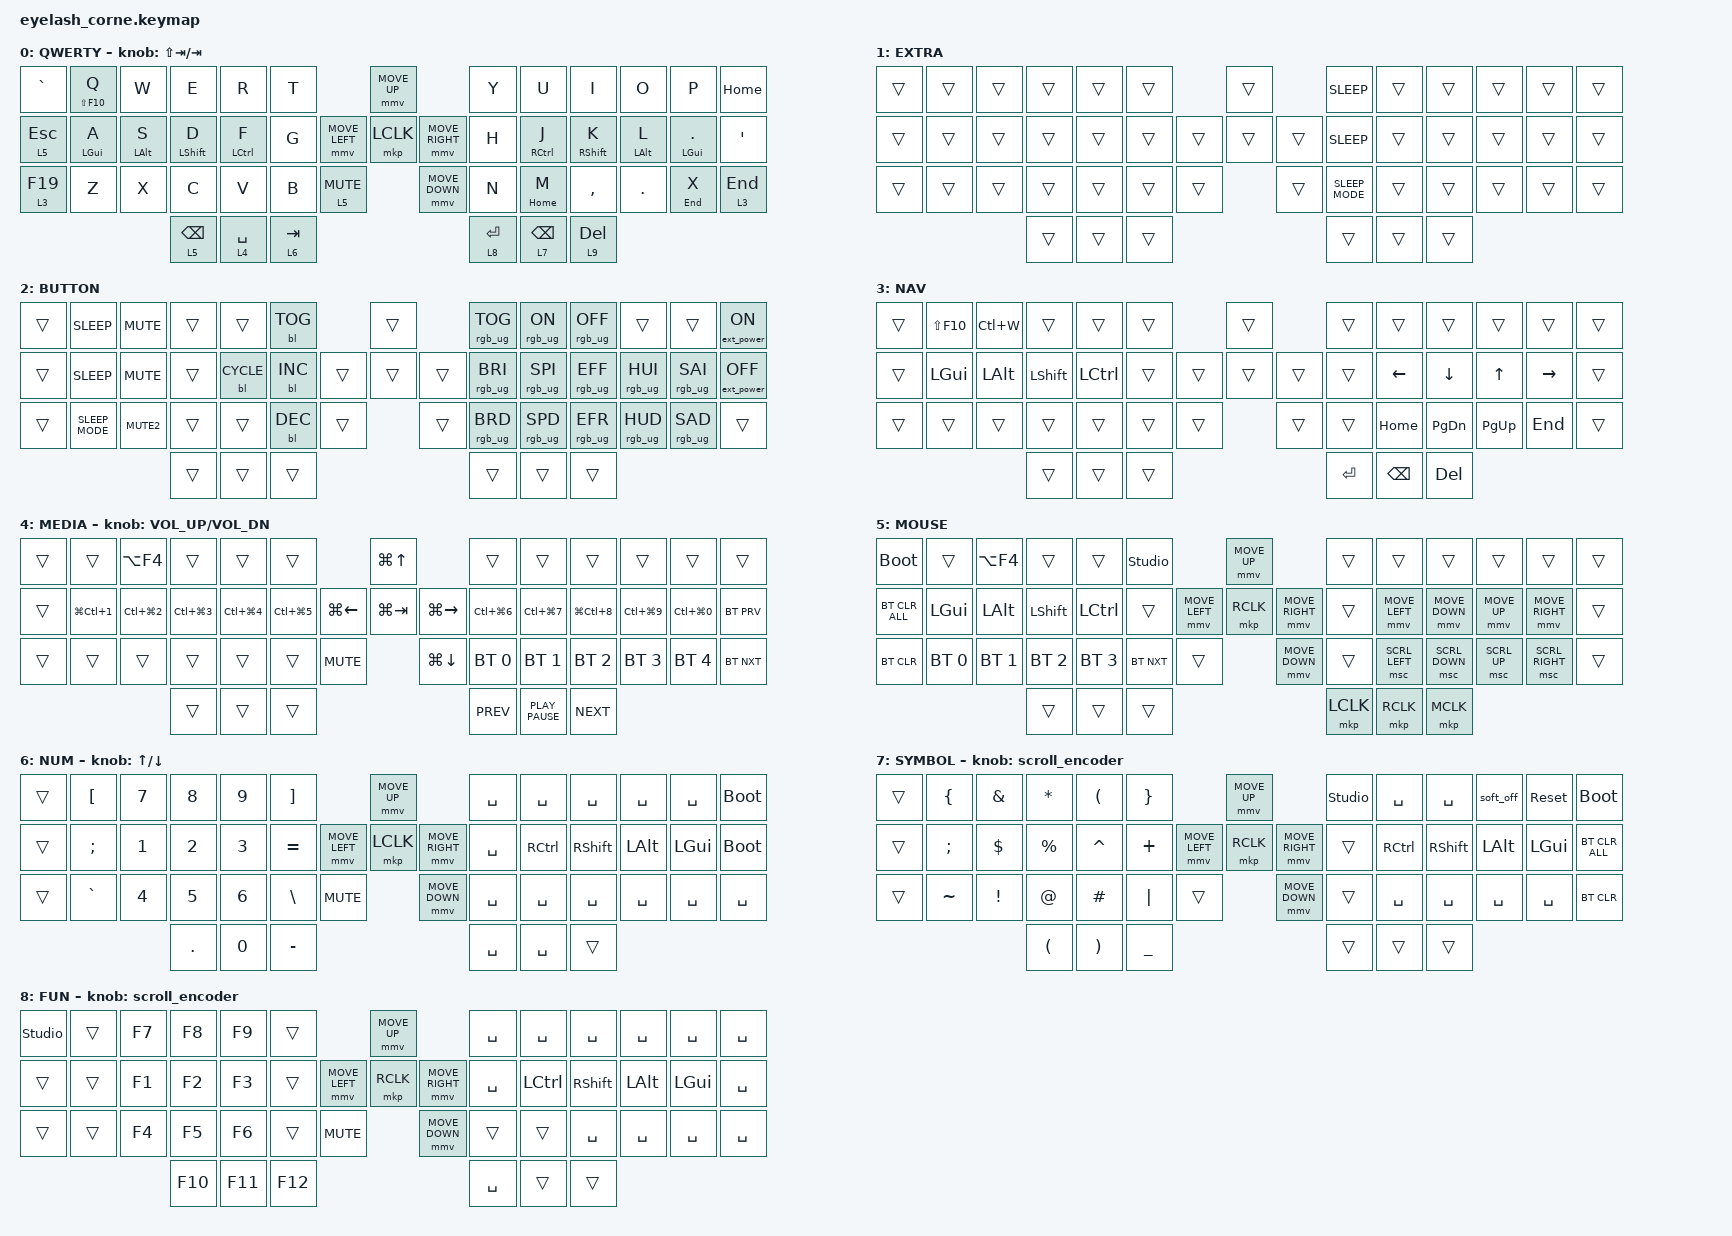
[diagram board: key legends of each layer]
// Fixed ZMK Keymap Code
#include <behaviors.dtsi>
#include <dt-bindings/zmk/keys.h>
#include <dt-bindings/zmk/bt.h>
#include <dt-bindings/zmk/outputs.h>
#include <dt-bindings/zmk/backlight.h>
#include <dt-bindings/zmk/rgb.h>
#include <dt-bindings/zmk/ext_power.h>
#include <dt-bindings/zmk/mouse.h>
#include <dt-bindings/zmk/pointing.h>

// Remove duplicate includes
#include <dt-bindings/zmk/keys.h>
#include <dt-bindings/zmk/pointing.h>
#include <dt-bindings/zmk/pointing.h>

#define ZMK_MOUSE_DEFAULT_MOVE_VAL 7200 // 1200  // 600
#define ZMK_MOUSE_DEFAULT_SCRL_VAL 20    // 10

// Define mod-morph with a *single* mod trigger for less repetition.
#define SIMPLE_MORPH(NAME, MOD, BINDING1, BINDING2) \
  ZMK_MOD_MORPH(NAME, bindings = <BINDING1>, <BINDING2>; \
                mods = <(MOD_L##MOD | MOD_R##MOD)>;)

/ {
    behaviors {
        td0: td0 {
            compatible = "zmk,behavior-tap-dance";
            display-name = "Shift/Caps Lock Tap Dance";
            #binding-cells = <0>;
            bindings = <&kp LEFT_SHIFT>, <&kp CAPS>;
        };

        // Tap: dot | Shift + tap: colon | Ctrl + shift + tap: >.
        // dot_morph: dot_morph {
        //     compatible = "zmk,behavior-mod-morph";
        //     #binding-cells = <0>;
        //     bindings = <&kp DOT>, <&dot_inner_morph>;
        //     mods = <(MOD_LSFT | MOD_RSFT)>;
        // };
        
        // dot_inner_morph: dot_inner_morph {
        //     compatible = "zmk,behavior-mod-morph";
        //     #binding-cells = <0>;
        //     bindings = <&kp COLON>, <&kp GREATER_THAN>;
        //     mods = <(MOD_LCTL | MOD_RCTL)>;
        // };
        
        // // Tap: qmark | Shift + tap: excl.
        // qexcl: qexcl {
        //     compatible = "zmk,behavior-mod-morph";
        //     #binding-cells = <0>;
        //     bindings = <&kp QMARK>, <&kp EXCL>;
        //     mods = <(MOD_LSFT | MOD_RSFT)>;
        // };
    };

    rgb_encoder: rgb_encoder {
        compatible = "zmk,behavior-sensor-rotate";
        #sensor-binding-cells = <0>;
        bindings = <&rgb_ug RGB_BRI>, <&rgb_ug RGB_BRD>;
    };

    scroll_encoder: scroll_encoder {
        compatible = "zmk,behavior-sensor-rotate";
        #sensor-binding-cells = <0>;
        bindings = <&msc SCRL_DOWN>, <&msc SCRL_UP>;
        tap-ms = <30>;
    };

    macros {
        macro_1: macro_1 {
            compatible = "zmk,behavior-macro";
            #binding-cells = <0>;
            bindings = <&none>;
            label = "MACRO_1";
        };

        // Missing macros that were referenced in keymaps
        studio_unlock: studio_unlock {
            compatible = "zmk,behavior-macro";
            #binding-cells = <0>;
            bindings = <&kp LS(LC(LA(L)))>;
            label = "STUDIO_UNLOCK";
        };

        soft_off: soft_off {
            compatible = "zmk,behavior-macro";
            #binding-cells = <0>;
            bindings = <&bt BT_CLR_ALL>;
            label = "SOFT_OFF";
        };
    };

    keymap {
        compatible = "zmk,keymap";

        BASE {
            display-name = "QWERTY";
            bindings = <
&kp GRAVE  &mt LS(F10) Q   &kp W           &kp E            &kp R        &kp T                                      &mmv MOVE_UP                     &kp Y        &kp U            &kp I        &kp O           &kp P              &kp HOME
&lt 5 ESC  &mt LEFT_GUI A  &mt LEFT_ALT S  &mt LSHIFT D     &mt LCTRL F  &kp G                      &mmv MOVE_LEFT  &mkp LCLK       &mmv MOVE_RIGHT  &kp H        &mt RCTRL J      &mt RSHFT K  &mt LEFT_ALT L  &mt LEFT_GUI DOT  &kp SQT
&lt 3 F19  &kp Z           &kp X           &kp C            &kp V        &kp B      &lt 5 K_MUTE                    &mmv MOVE_DOWN                   &kp N        &mt HOME M       &kp COMMA    &kp DOT         &mt END X       &lt 3 END
                                           &lt 5 BACKSPACE  &lt 4 SPACE  &lt 6 TAB                                                                   &lt 8 ENTER  &lt 7 BACKSPACE  &lt 9 DEL
            >;

            sensor-bindings = <&inc_dec_kp LS(TAB) TAB>;
        };

        EXTRA {
            bindings = <
&trans  &trans  &trans  &trans  &trans  &trans                    &trans          &kp K_SLEEP       &trans  &trans  &trans  &trans  &trans
&trans  &trans  &trans  &trans  &trans  &trans            &trans  &trans  &trans  &kp C_SLEEP       &trans  &trans  &trans  &trans  &trans
&trans  &trans  &trans  &trans  &trans  &trans  &trans            &trans          &kp C_SLEEP_MODE  &trans  &trans  &trans  &trans  &trans
                        &trans  &trans  &trans                                    &trans            &trans  &trans
            >;
        };

        BUTTON {
            bindings = <
&trans  &kp K_SLEEP       &kp C_MUTE   &trans  &trans        &bl BL_TOG                    &trans          &rgb_ug RGB_TOG  &rgb_ug RGB_ON   &rgb_ug RGB_OFF  &trans           &trans           &ext_power EP_ON
&trans  &kp C_SLEEP       &kp K_MUTE   &trans  &bl BL_CYCLE  &bl BL_INC            &trans  &trans  &trans  &rgb_ug RGB_BRI  &rgb_ug RGB_SPI  &rgb_ug RGB_EFF  &rgb_ug RGB_HUI  &rgb_ug RGB_SAI  &ext_power EP_OFF
&trans  &kp C_SLEEP_MODE  &kp K_MUTE2  &trans  &trans        &bl BL_DEC  &trans            &trans          &rgb_ug RGB_BRD  &rgb_ug RGB_SPD  &rgb_ug RGB_EFR  &rgb_ug RGB_HUD  &rgb_ug RGB_SAD  &trans
                                       &trans  &trans        &trans                                        &trans           &trans           &trans
            >;
        };

        NAV {
            bindings = <
&trans  &kp LS(F10)  &kp LC(W)  &trans     &trans     &trans                    &trans          &trans     &trans    &trans     &trans     &trans     &trans
&trans  &kp LGUI     &kp LALT   &kp LSHFT  &kp LCTRL  &trans            &trans  &trans  &trans  &trans     &kp LEFT  &kp DOWN   &kp UP     &kp RIGHT  &trans
&trans  &trans       &trans     &trans     &trans     &trans  &trans            &trans          &trans     &kp HOME  &kp PG_DN  &kp PG_UP  &kp END    &trans
                                &trans     &trans     &trans                                    &kp ENTER  &kp BSPC  &kp DEL
            >;

            label = "NAV";
        };

        MEDIA {
            bindings = <
&trans  &trans                &kp LA(F4)            &trans                &trans                &trans                                      &kp LG(UP_ARROW)                   &trans          &trans            &trans          &trans          &trans          &trans
&trans  &kp LG(LC(NUMBER_1))  &kp LC(LG(NUMBER_2))  &kp LC(LG(NUMBER_3))  &kp LC(LG(NUMBER_4))  &kp LC(LG(N5))                &kp LG(LEFT)  &kp LG(TAB)         &kp LG(RIGHT)  &kp LC(LG(N6))  &kp LC(LG(N7))    &kp LG(LC(N8))  &kp LC(LG(N9))  &kp LC(LG(N0))  &bt BT_PRV
&trans  &trans                &trans                &trans                &trans                &trans          &kp K_MUTE                  &kp LG(DOWN_ARROW)                 &bt BT_SEL 0    &bt BT_SEL 1      &bt BT_SEL 2    &bt BT_SEL 3    &bt BT_SEL 4    &bt BT_NXT
                                                    &trans                &trans                &trans                                                                         &kp K_PREV      &kp K_PLAY_PAUSE  &kp C_NEXT
            >;

            label = "MEDIA";
            sensor-bindings = <&inc_dec_kp C_VOLUME_UP C_VOL_DN>;
        };

        MOUSE {
            bindings = <
&bootloader     &trans        &kp LA(F4)    &trans        &trans        &studio_unlock                            &mmv MOVE_UP                     &trans     &trans          &trans          &trans        &trans           &trans
&bt BT_CLR_ALL  &kp LGUI      &kp LALT      &kp LSHFT     &kp LCTRL     &trans                    &mmv MOVE_LEFT  &mkp RCLK       &mmv MOVE_RIGHT  &trans     &mmv MOVE_LEFT  &mmv MOVE_DOWN  &mmv MOVE_UP  &mmv MOVE_RIGHT  &trans
&bt BT_CLR      &bt BT_SEL 0  &bt BT_SEL 1  &bt BT_SEL 2  &bt BT_SEL 3  &bt BT_NXT      &trans                    &mmv MOVE_DOWN                   &trans     &msc SCRL_LEFT  &msc SCRL_DOWN  &msc SCRL_UP  &msc SCRL_RIGHT  &trans
                                            &trans        &trans        &trans                                                                     &mkp LCLK  &mkp RCLK       &mkp MCLK
            >;

            label = "MOUSE";
        };

        NUM {
            display-name = "NUM";
            bindings = <
&trans  &kp LBKT   &kp N7  &kp N8   &kp N9  &kp RBKT                                 &mmv MOVE_UP                     &kp SPACE  &kp SPACE  &kp SPACE  &kp SPACE  &kp SPACE  &bootloader
&trans  &kp SEMI   &kp N1  &kp N2   &kp N3  &kp EQUAL                &mmv MOVE_LEFT  &mkp LCLK       &mmv MOVE_RIGHT  &kp SPACE  &kp RCTRL  &kp RSHFT  &kp LALT   &kp LGUI   &bootloader
&trans  &kp GRAVE  &kp N4  &kp N5   &kp N6  &kp BSLH   &kp C_MUTE                    &mmv MOVE_DOWN                   &kp SPACE  &kp SPACE  &kp SPACE  &kp SPACE  &kp SPACE  &kp SPACE
                           &kp DOT  &kp N0  &kp MINUS                                                                 &kp SPACE  &kp SPACE  &trans
            >;

            sensor-bindings = <&inc_dec_kp UP DOWN>;
        };

        SYM {
            display-name = "SYMBOL";
            bindings = <
&trans  &kp LEFT_BRACE  &kp AMPERSAND    &kp ASTERISK          &kp LEFT_PARENTHESIS   &kp RIGHT_BRACE                            &mmv MOVE_UP                     &studio_unlock  &kp SPACE  &kp SPACE  &soft_off  &sys_reset  &bootloader
&trans  &kp SEMICOLON   &kp DOLLAR       &kp PERCENT           &kp CARET              &kp PLUS                   &mmv MOVE_LEFT  &mkp RCLK       &mmv MOVE_RIGHT  &trans          &kp RCTRL  &kp RSHFT  &kp LALT   &kp LGUI    &bt BT_CLR_ALL
&trans  &kp TILDE       &kp EXCLAMATION  &kp AT_SIGN           &kp POUND              &kp PIPE         &trans                    &mmv MOVE_DOWN                   &trans          &kp SPACE  &kp SPACE  &kp SPACE  &kp SPACE   &bt BT_CLR
                                         &kp LEFT_PARENTHESIS  &kp RIGHT_PARENTHESIS  &kp UNDERSCORE                                                              &trans          &trans     &trans
            >;

            sensor-bindings = <&scroll_encoder>;
        };

        Fn {
            display-name = "FUN";
            bindings = <
&studio_unlock  &trans  &kp F7  &kp F8   &kp F9   &trans                                &mmv MOVE_UP                     &kp SPACE  &kp SPACE  &kp SPACE  &kp SPACE  &kp SPACE  &kp SPACE
&trans          &trans  &kp F1  &kp F2   &kp F3   &trans                &mmv MOVE_LEFT  &mkp RCLK       &mmv MOVE_RIGHT  &kp SPACE  &kp LCTRL  &kp RSHFT  &kp LALT   &kp LGUI   &kp SPACE
&trans          &trans  &kp F4  &kp F5   &kp F6   &trans  &kp C_MUTE                    &mmv MOVE_DOWN                   &trans     &trans     &kp SPACE  &kp SPACE  &kp SPACE  &kp SPACE
                                 &kp F10  &kp F11  &kp F12                                                                &kp SPACE  &trans     &trans
            >;

            sensor-bindings = <&scroll_encoder>;
            label = "FUN";
        };
    };
};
